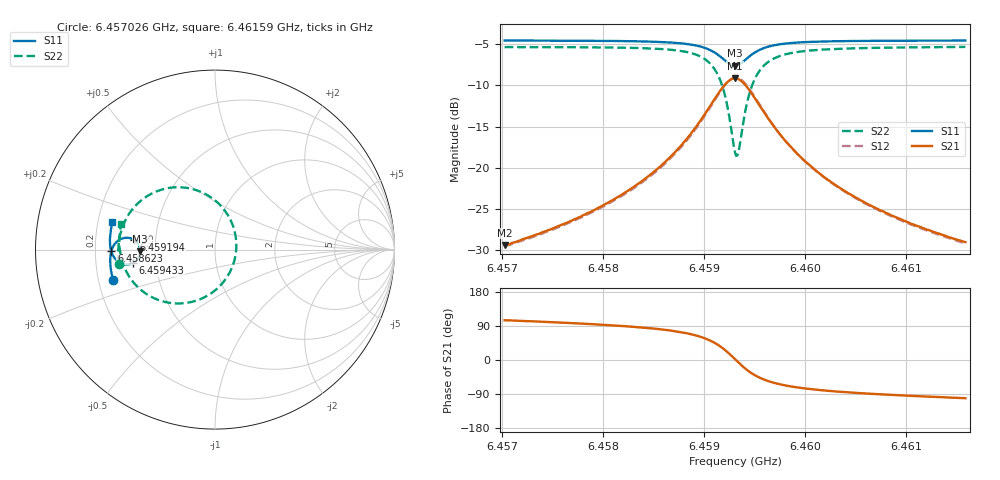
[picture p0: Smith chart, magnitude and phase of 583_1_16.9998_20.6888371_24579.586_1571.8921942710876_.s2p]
#  HZ  S  RI  R  50.00
! Rohde & Schwarz Vector Network Analyzer
! Rohde-Schwarz,ZNB20-2Port,1311601062101988,3.16
! Created: UTC 3/20/2024, 11:18:12 PM
! freq[Hz]  re:S11  im:S11  re:S21  im:S21  re:S12  im:S12  re:S22  im:S22
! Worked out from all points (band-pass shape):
!   401 points, 6.457026 GHz to 6.46159 GHz, reference 50 ohm
!   highest |S21| = -9.15 dB at 6.459308 GHz (marker M1); lowest = -29.3 dB at 6.457026 GHz (marker M2)
!   |S21| within 3 dB of the highest: 6.45908 GHz to 6.459536 GHz (455.9 kHz wide, 0.00706 % of centre)
!   lowest |S11| = -7.6 dB at 6.459308 GHz (marker M3), VSWR 2.43, Z = 20.6 - j0.42 ohm
!   |S11| at or under -10 dB: nowhere
!   |S22| runs from -18.5 to -5.3 dB; largest |S21 - S12| = 0.014
!   S11 on the Smith chart (normalised r, x): 6.457026 GHz: 0.26, -0.14; 6.458623 GHz: 0.27, -0.01; 6.459194 GHz: 0.37, +0.05; 6.459433 GHz: 0.37, -0.07; 6.46159 GHz: 0.26, +0.12
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6.4570257e9  -0.5678 -0.1684  -0.00883 0.033  -0.00703 0.0328  -0.5337 -0.0803
6.4577902e9  -0.5813 -0.1014  -0.00538 0.0508  -0.00281 0.0503  -0.5384 0.00975
6.4581781e9  -0.5839 -0.0626  -6.12e-06 0.0684  0.00321 0.0671  -0.531 0.0709
6.4585546e9  -0.5798 -0.0178  0.0149 0.0995  0.0188 0.0967  -0.5035 0.1552
6.4586231e9  -0.5775 -0.0083  0.0202 0.1079  0.0244 0.1047  -0.4933 0.1752
6.4588171e9  -0.5647 0.0222  0.0471 0.1391  0.0513 0.134  -0.4429 0.2446
6.4589654e9  -0.5418 0.0484  0.0928 0.1696  0.0962 0.1628  -0.3582 0.3092
6.4591023e9  -0.4976 0.0658  0.1809 0.186  0.1818 0.1786  -0.1973 0.3473
6.4591936e9  -0.4527 0.0553  0.2715 0.1543  0.2717 0.1484  -0.0293 0.2958
6.459262e9  -0.4234 0.0228  0.3323 0.0815  0.3344 0.0762  0.0869 0.1645
6.4593077e9  -0.4164 -0.00842  0.3487 0.0129  0.3524 0.00591  0.119 0.0359
6.4593419e9  -0.4206 -0.0323  0.3425 -0.0401  0.3466 -0.0494  0.1072 -0.0646
6.4593875e9  -0.4364 -0.0587  0.3136 -0.1004  0.3159 -0.1125  0.0481 -0.179
6.4594332e9  -0.4586 -0.0752  0.2709 -0.1419  0.27 -0.1552  -0.0382 -0.2543
6.4594788e9  -0.4818 -0.082  0.226 -0.1643  0.222 -0.1775  -0.1289 -0.2912
6.4595245e9  -0.5025 -0.0819  0.1851 -0.1729  0.1789 -0.1846  -0.2095 -0.3003
6.4596728e9  -0.5466 -0.0613  0.0966 -0.1585  0.0878 -0.1648  -0.3786 -0.2495
6.4598325e9  -0.5682 -0.0335  0.0513 -0.1302  0.0436 -0.133  -0.4596 -0.1761
6.4600721e9  -0.5809 0.00188  0.022 -0.0982  0.0161 -0.0988  -0.5075 -0.0929
6.4604258e9  -0.5855 0.0441  0.00572 -0.0703  0.00163 -0.0699  -0.5292 -0.0113
6.4608366e9  -0.5834 0.0854  -0.00157 -0.0522  -0.00452 -0.0515  -0.5329 0.0551
6.4615896e9  -0.5713 0.1523  -0.00667 -0.0349  -0.00842 -0.0338  -0.5213 0.1446
